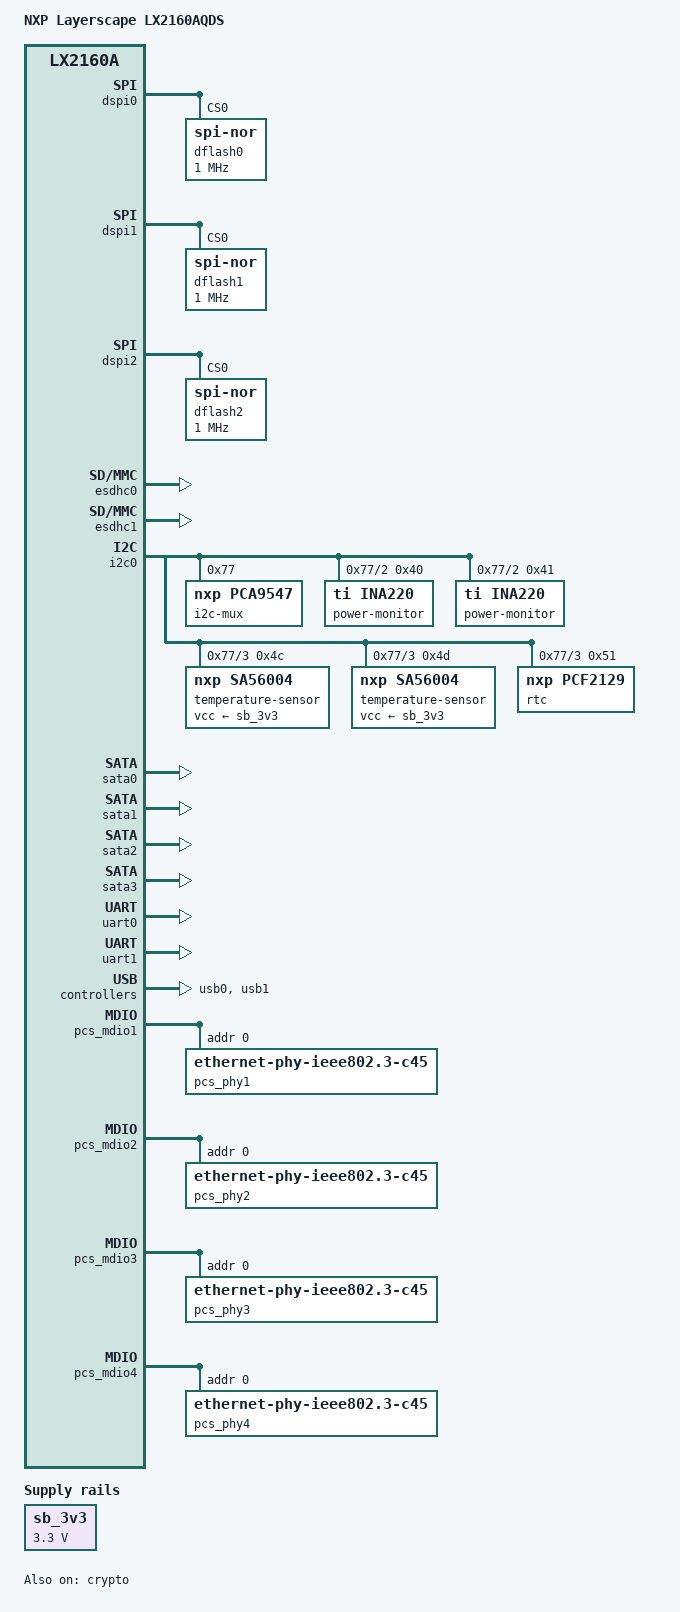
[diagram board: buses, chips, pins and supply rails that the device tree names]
// SPDX-License-Identifier: (GPL-2.0 OR MIT)
//
// Device Tree file for LX2160AQDS
//
// Copyright 2018 NXP

/dts-v1/;

#include "fsl-lx2160a.dtsi"

/ {
	model = "NXP Layerscape LX2160AQDS";
	compatible = "fsl,lx2160a-qds", "fsl,lx2160a";

	aliases {
		crypto = &crypto;
		serial0 = &uart0;
	};

	chosen {
		stdout-path = "serial0:115200n8";
	};

	sb_3v3: regulator-sb3v3 {
		compatible = "regulator-fixed";
		regulator-name = "MC34717-3.3VSB";
		regulator-min-microvolt = <3300000>;
		regulator-max-microvolt = <3300000>;
		regulator-boot-on;
		regulator-always-on;
	};
};

&crypto {
	status = "okay";
};

&dspi0 {
	status = "okay";

	dflash0: flash@0 {
		#address-cells = <1>;
		#size-cells = <1>;
		compatible = "jedec,spi-nor";
		reg = <0>;
		spi-max-frequency = <1000000>;
	};
};

&dspi1 {
	status = "okay";

	dflash1: flash@0 {
		#address-cells = <1>;
		#size-cells = <1>;
		compatible = "jedec,spi-nor";
		reg = <0>;
		spi-max-frequency = <1000000>;
	};
};

&dspi2 {
	status = "okay";

	dflash2: flash@0 {
		#address-cells = <1>;
		#size-cells = <1>;
		compatible = "jedec,spi-nor";
		reg = <0>;
		spi-max-frequency = <1000000>;
	};
};

&esdhc0 {
	status = "okay";
};

&esdhc1 {
	status = "okay";
};

&i2c0 {
	status = "okay";

	i2c-mux@77 {
		compatible = "nxp,pca9547";
		reg = <0x77>;
		#address-cells = <1>;
		#size-cells = <0>;

		i2c@2 {
			#address-cells = <1>;
			#size-cells = <0>;
			reg = <0x2>;

			power-monitor@40 {
				compatible = "ti,ina220";
				reg = <0x40>;
				shunt-resistor = <500>;
			};

			power-monitor@41 {
				compatible = "ti,ina220";
				reg = <0x41>;
				shunt-resistor = <1000>;
			};
		};

		i2c@3 {
			#address-cells = <1>;
			#size-cells = <0>;
			reg = <0x3>;

			temperature-sensor@4c {
				compatible = "nxp,sa56004";
				reg = <0x4c>;
				vcc-supply = <&sb_3v3>;
			};

			temperature-sensor@4d {
				compatible = "nxp,sa56004";
				reg = <0x4d>;
				vcc-supply = <&sb_3v3>;
			};

			rtc@51 {
				compatible = "nxp,pcf2129";
				reg = <0x51>;
			};
		};
	};
};

&sata0 {
	status = "okay";
};

&sata1 {
	status = "okay";
};

&sata2 {
	status = "okay";
};

&sata3 {
	status = "okay";
};

&uart0 {
	status = "okay";
};

&uart1 {
	status = "okay";
};

&usb0 {
	status = "okay";
};

&usb1 {
	status = "okay";
};

&pcs_mdio1 {
	pcs_phy1: ethernet-phy@0 {
		compatible = "ethernet-phy-ieee802.3-c45";
		backplane-mode = "40gbase-kr";
		reg = <0x0>;
		fsl,lane-handle = <&serdes1>;
		fsl,lane-reg = <0xF00 0xE00 0xD00 0xC00>; /* lanes H, G, F, E */
	};
};

&pcs_mdio2 {
	pcs_phy2: ethernet-phy@0 {
		compatible = "ethernet-phy-ieee802.3-c45";
		backplane-mode = "40gbase-kr";
		reg = <0x0>;
		fsl,lane-handle = <&serdes1>;
		fsl,lane-reg = <0xB00 0xA00 0x900 0x800>; /* lanes D, C, B, A */
	};
};

&pcs_mdio3 {
	pcs_phy3: ethernet-phy@0 {
		compatible = "ethernet-phy-ieee802.3-c45";
		backplane-mode = "10gbase-kr";
		reg = <0x0>;
		fsl,lane-handle = <&serdes1>;
		fsl,lane-reg = <0xF00 0x100>; /* lane H */
	};
};

&pcs_mdio4 {
	pcs_phy4: ethernet-phy@0 {
		compatible = "ethernet-phy-ieee802.3-c45";
		backplane-mode = "10gbase-kr";
		reg = <0x0>;
		fsl,lane-handle = <&serdes1>;
		fsl,lane-reg = <0xE00 0x100>; /* lane G */
	};
};
